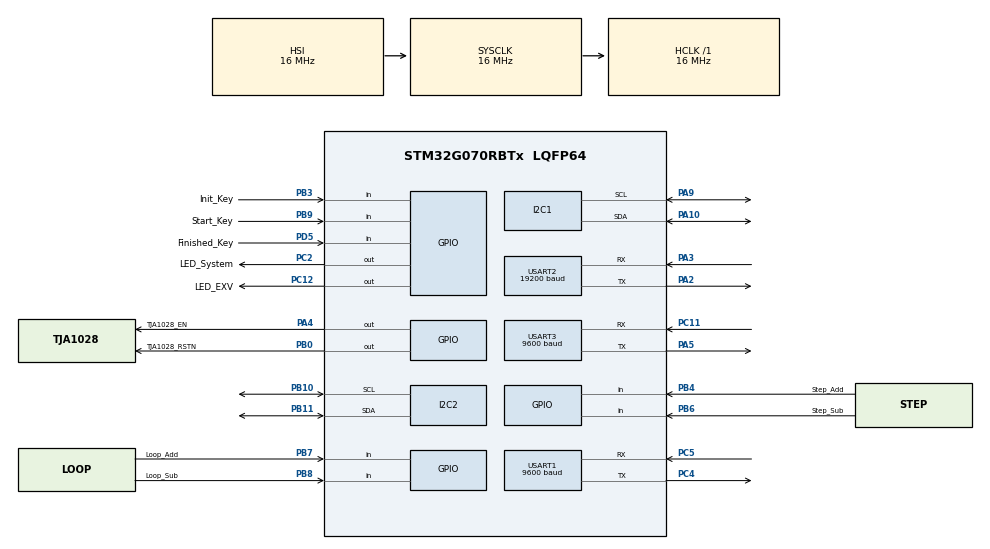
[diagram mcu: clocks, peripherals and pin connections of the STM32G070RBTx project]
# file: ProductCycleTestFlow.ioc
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Dma.Request0=USART1_RX
Dma.Request1=USART2_RX
Dma.USART1_RX.0.Direction=DMA_PERIPH_TO_MEMORY
Dma.USART1_RX.0.EventEnable=DISABLE
Dma.USART1_RX.0.Instance=DMA1_Channel1
Dma.USART1_RX.0.MemDataAlignment=DMA_MDATAALIGN_BYTE
Dma.USART1_RX.0.MemInc=DMA_MINC_ENABLE
Dma.USART1_RX.0.Mode=DMA_NORMAL
Dma.USART1_RX.0.PeriphDataAlignment=DMA_PDATAALIGN_BYTE
Dma.USART1_RX.0.PeriphInc=DMA_PINC_DISABLE
Dma.USART1_RX.0.Polarity=HAL_DMAMUX_REQ_GEN_RISING
Dma.USART1_RX.0.Priority=DMA_PRIORITY_LOW
Dma.USART1_RX.0.RequestNumber=1
Dma.USART1_RX.0.SignalID=NONE
Dma.USART1_RX.0.SyncEnable=DISABLE
Dma.USART1_RX.0.SyncPolarity=HAL_DMAMUX_SYNC_NO_EVENT
Dma.USART1_RX.0.SyncRequestNumber=1
Dma.USART1_RX.0.SyncSignalID=NONE
Dma.USART2_RX.1.Direction=DMA_PERIPH_TO_MEMORY
Dma.USART2_RX.1.EventEnable=DISABLE
Dma.USART2_RX.1.Instance=DMA1_Channel2
Dma.USART2_RX.1.MemDataAlignment=DMA_MDATAALIGN_BYTE
Dma.USART2_RX.1.MemInc=DMA_MINC_ENABLE
Dma.USART2_RX.1.Mode=DMA_NORMAL
Dma.USART2_RX.1.PeriphDataAlignment=DMA_PDATAALIGN_BYTE
Dma.USART2_RX.1.PeriphInc=DMA_PINC_DISABLE
Dma.USART2_RX.1.Polarity=HAL_DMAMUX_REQ_GEN_RISING
Dma.USART2_RX.1.Priority=DMA_PRIORITY_LOW
Dma.USART2_RX.1.RequestNumber=1
Dma.USART2_RX.1.SignalID=NONE
Dma.USART2_RX.1.SyncEnable=DISABLE
Dma.USART2_RX.1.SyncPolarity=HAL_DMAMUX_SYNC_NO_EVENT
Dma.USART2_RX.1.SyncRequestNumber=1
Dma.USART2_RX.1.SyncSignalID=NONE
Mcu.Family=STM32G0
Mcu.Name=STM32G070RBTx
Mcu.Package=LQFP64
NVIC.DMA1_Channel1_IRQn=true\:0\:0\:false\:false\:true\:false\:true\:true
NVIC.DMA1_Channel2_3_IRQn=true\:0\:0\:false\:false\:true\:false\:true\:true
NVIC.USART1_IRQn=true\:0\:0\:false\:false\:true\:true\:true\:true
NVIC.USART2_IRQn=true\:0\:0\:false\:false\:true\:true\:true\:true
PA10.Mode=I2C
PA10.Signal=I2C1_SDA
PA13.Mode=Serial_Wire
PA13.Signal=SYS_SWDIO
PA14-BOOT0.Mode=Serial_Wire
PA14-BOOT0.Signal=SYS_SWCLK
PA2.Mode=LIN
PA2.Signal=USART2_TX
PA3.Mode=LIN
PA3.Signal=USART2_RX
PA4.GPIO_Label=TJA1028_EN
PA4.Signal=GPIO_Output
PA5.Mode=Asynchronous
PA5.Signal=USART3_TX
PA9.Mode=I2C
PA9.Signal=I2C1_SCL
PB0.GPIO_Label=TJA1028_RSTN
PB0.Signal=GPIO_Output
PB10.Mode=I2C
PB10.Signal=I2C2_SCL
PB11.Mode=I2C
PB11.Signal=I2C2_SDA
PB3.GPIO_Label=Init_Key
PB3.Signal=GPIO_Input
PB4.GPIO_Label=Step_Add
PB4.Signal=GPIO_Input
PB6.GPIO_Label=Step_Sub
PB6.Signal=GPIO_Input
PB7.GPIO_Label=Loop_Add
PB7.Signal=GPIO_Input
PB8.GPIO_Label=Loop_Sub
PB8.Signal=GPIO_Input
PB9.GPIO_Label=Start_Key
PB9.Signal=GPIO_Input
PC11.Mode=Asynchronous
PC11.Signal=USART3_RX
PC12.GPIO_Label=LED_EXV
PC12.Signal=GPIO_Output
PC2.GPIO_Label=LED_System
PC2.Signal=GPIO_Output
PC4.Mode=Asynchronous
PC4.Signal=USART1_TX
PC5.Mode=Asynchronous
PC5.Signal=USART1_RX
PD5.GPIO_Label=Finished_Key
PD5.Signal=GPIO_Input
ProjectManager.HeapSize=0x200
ProjectManager.StackSize=0x400
ProjectManager.TargetToolchain=STM32CubeIDE
RCC.AHBFreq_Value=16000000
RCC.CortexFreq_Value=16000000
RCC.EXTERNAL_CLOCK_VALUE=48000
RCC.HCLKFreq_Value=16000000
RCC.HSE_VALUE=8000000
RCC.HSI_VALUE=16000000
RCC.LSE_VALUE=32768
RCC.SYSCLKFreq_VALUE=16000000
RCC.VCOOutputFreq_Value=128000000
USART1.BaudRate=9600
USART1.VirtualMode-Asynchronous=VM_ASYNC
USART2.BaudRate=19200
USART2.VirtualMode-LIN=VM_LIN
USART3.BaudRate=9600
USART3.VirtualMode-Asynchronous=VM_ASYNC
VP_SYS_VS_DBSignals.Mode=DisableDeadBatterySignals
board=custom

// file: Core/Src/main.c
/* USER CODE BEGIN Header */
/**
  ******************************************************************************
  * @file           : main.c
  * @brief          : Main program body
  ******************************************************************************
  * @attention
  *
  * Copyright (c) 2023 STMicroelectronics.
  * All rights reserved.
  *
  * This software is licensed under terms that can be found in the LICENSE file
  * in the root directory of this software component.
  * If no LICENSE file comes with this software, it is provided AS-IS.
  *
  ******************************************************************************
  */
/* USER CODE END Header */
#include "main.h"
#include "dma.h"
#include "i2c.h"
#include "usart.h"
#include "gpio.h"

/* USER CODE BEGIN Includes */
#include "key.h"
#include "CH455.h"
#include "LIN_usart2.h"
#include "rs485_usart1.h"
/* USER CODE END Includes */

void SystemClock_Config(void);

int main(void)
{

  /* MCU Configuration--------------------------------------------------------*/

  /* Reset of all peripherals, Initializes the Flash interface and the Systick. */
  HAL_Init();

  /* Configure the system clock */
  SystemClock_Config();

  /* Initialize all configured peripherals */
  MX_GPIO_Init();
  MX_DMA_Init();
  MX_I2C1_Init();
  MX_USART1_UART_Init();
  MX_USART2_UART_Init();
  MX_USART3_UART_Init();
  MX_I2C2_Init();
  /* USER CODE BEGIN 2 */
    //使能空闲中断
    __HAL_UART_ENABLE_IT(&huart1,UART_IT_IDLE);
    __HAL_UART_ENABLE_IT(&huart2,UART_IT_IDLE);
    //启动DMA接收
    HAL_UART_Receive_DMA(&huart1,pRS485RxBuff,RS485_MAXSIZE);
    HAL_UART_Receive_DMA(&huart2,pLINRxBuff,LIN_RX_MAXSIZE);
    //初始化数码管
    CH455G_Init(&hi2c1);
    CH455G_Init(&hi2c2);
    //使能系统运行指示灯
    HAL_GPIO_WritePin(LED_System_GPIO_Port,LED_System_Pin,GPIO_PIN_SET);
    //电机正常指示灯
    HAL_GPIO_WritePin(LED_EXV_GPIO_Port,LED_EXV_Pin,GPIO_PIN_SET);
    //使能TJA1028LIN芯片的EN
    HAL_GPIO_WritePin(TJA1028_EN_GPIO_Port,TJA1028_EN_Pin,GPIO_PIN_SET);
    //使能TJA1028LIN芯片的RSTN
    HAL_GPIO_WritePin(TJA1028_RSTN_GPIO_Port,TJA1028_RSTN_Pin,GPIO_PIN_SET);
  /* USER CODE END 2 */

  /* Infinite loop */
  while (1)
  {
    //检测加减按键
    Operation_Key_Scan(Step_Add_GPIO_Port,Step_Add_Pin,1,STEP_DIGITAL_TUBE);
    Operation_Key_Scan(Step_Sub_GPIO_Port,Step_Sub_Pin,0,STEP_DIGITAL_TUBE);
    Operation_Key_Scan(Loop_Add_GPIO_Port,Loop_Add_Pin,1,LOOP_DIGITAL_TUBE);
    Operation_Key_Scan(Loop_Sub_GPIO_Port,Loop_Sub_Pin,0,LOOP_DIGITAL_TUBE);
    //检测初始化按钮
    if (General_Key_Scan(Init_Key_GPIO_Port,Init_Key_Pin))
    {
      Data_To_LIN(0,0,1);
    }
    //检测开始按钮
    if (General_Key_Scan(Start_Key_GPIO_Port,Start_Key_Pin))
    {
      Data_To_LIN(currentStepSize,currentCycleCount,0);
    }
    //检测结束按钮
    if (General_Key_Scan(Finished_Key_GPIO_Port,Finished_Key_Pin))
    {
      Finished_LIN(DISABLE,DISABLE);
    }
    //循环发送LIN数据
    Send_LIN_Data(&huart2);
    //循环发送RS485数据
    Send_RS485_Data(&huart1);
  }
}

void SystemClock_Config(void)
{
  RCC_OscInitTypeDef RCC_OscInitStruct = {0};
  RCC_ClkInitTypeDef RCC_ClkInitStruct = {0};

  /** Configure the main internal regulator output voltage
  */
  HAL_PWREx_ControlVoltageScaling(PWR_REGULATOR_VOLTAGE_SCALE1);

  /** Initializes the RCC Oscillators according to the specified parameters
  * in the RCC_OscInitTypeDef structure.
  */
  RCC_OscInitStruct.OscillatorType = RCC_OSCILLATORTYPE_HSI;
  RCC_OscInitStruct.HSIState = RCC_HSI_ON;
  RCC_OscInitStruct.HSIDiv = RCC_HSI_DIV1;
  RCC_OscInitStruct.HSICalibrationValue = RCC_HSICALIBRATION_DEFAULT;
  RCC_OscInitStruct.PLL.PLLState = RCC_PLL_NONE;
  if (HAL_RCC_OscConfig(&RCC_OscInitStruct) != HAL_OK)
  {
    Error_Handler();
  }

  /** Initializes the CPU, AHB and APB buses clocks
  */
  RCC_ClkInitStruct.ClockType = RCC_CLOCKTYPE_HCLK|RCC_CLOCKTYPE_SYSCLK
                              |RCC_CLOCKTYPE_PCLK1;
  RCC_ClkInitStruct.SYSCLKSource = RCC_SYSCLKSOURCE_HSI;
  RCC_ClkInitStruct.AHBCLKDivider = RCC_SYSCLK_DIV1;
  RCC_ClkInitStruct.APB1CLKDivider = RCC_HCLK_DIV1;

  if (HAL_RCC_ClockConfig(&RCC_ClkInitStruct, FLASH_LATENCY_0) != HAL_OK)
  {
    Error_Handler();
  }
}

/* USER CODE BEGIN 4 */
void USAR_UART_IDLECallback(UART_HandleTypeDef *huart,uint8_t rxlen )
{
    //接收气体流量串口
    if(huart == &huart1)
    {
        RS485_Data_Process(rxlen);
        //清除数据长度计数
        rxlen = 0;
        //重新打开DMA接收
        HAL_UART_Receive_DMA(&huart1,pRS485RxBuff,RS485_MAXSIZE);
    }
    //LIN数据串口
    else if (huart == &huart2)
    {
        //LIN数据处理
        LIN_Data_Process();
        //清除数据长度计数
        rxlen = 0;
        //重新打开DMA接收
        HAL_UART_Receive_DMA(&huart2,pLINRxBuff,LIN_RX_MAXSIZE);
    }
}
/* USER CODE END 4 */

void Error_Handler(void)
{
  __disable_irq();
  while (1)
  {
  }
}
